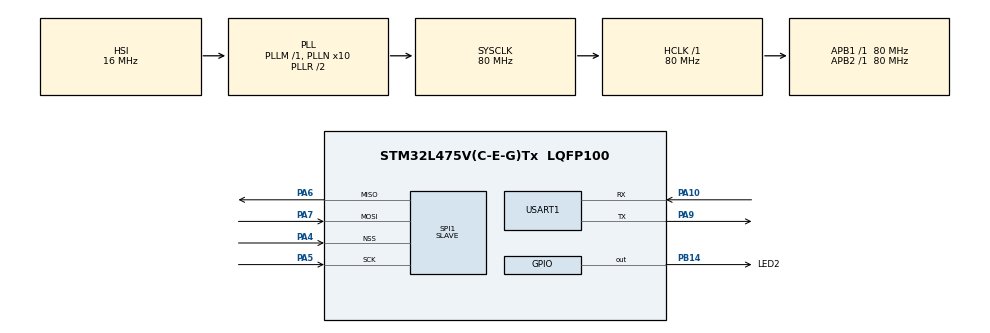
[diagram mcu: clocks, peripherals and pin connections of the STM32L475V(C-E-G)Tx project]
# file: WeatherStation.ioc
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Mcu.Family=STM32L4
RCC.MSI_VALUE=4000000
RCC.PLLSourceVirtual=RCC_PLLSOURCE_HSI
PA14\ (JTCK-SWCLK).Mode=Serial_Wire
PA6.Mode=Full_Duplex_Slave
VP_SYS_VS_tim6.Mode=TIM6
RCC.CortexFreq_Value=80000000
FREERTOS.Tasks01=defaultTask,0,128,StartDefaultTask,Default,NULL,Dynamic,NULL,NULL;readTemp,0,128,StartReadTemp,Default,NULL,Dynamic,NULL,NULL;readHumidity,0,128,StartReadHum,Default,NULL,Dynamic,NULL,NULL;readPressure,0,128,StartReadPressure,Default,NULL,Dynamic,NULL,NULL;readMagneto,0,128,StartReadMagnetometer,Default,NULL,Dynamic,NULL,NULL;SendData,0,128,StartSendData,Default,NULL,Dynamic,NULL,NULL
PA7.Mode=Full_Duplex_Slave
PA10.Mode=Asynchronous
SPI1.VirtualType=VM_SLAVE
NVIC.TIM6_DAC_IRQn=true\:0\:0\:false\:false\:true\:false\:false\:true
PB14.GPIO_Label=LED2
RCC.SYSCLKSource=RCC_SYSCLKSOURCE_PLLCLK
ProjectManager.StackSize=0x400
PA14\ (JTCK-SWCLK).Signal=SYS_JTCK-SWCLK
USART1.VirtualMode-Asynchronous=VM_ASYNC
FREERTOS.configENABLE_FPU=1
PA9.Mode=Asynchronous
PB14.PinState=GPIO_PIN_RESET
PA4.Mode=NSS_Signal_Hard_Input
ProjectManager.TargetToolchain=STM32CubeIDE
PB14.GPIO_Speed=GPIO_SPEED_FREQ_VERY_HIGH
SPI1.Direction=SPI_DIRECTION_2LINES
RCC.HCLKFreq_Value=80000000
RCC.APB2TimFreq_Value=80000000
PA9.Signal=USART1_TX
RCC.USBFreq_Value=64000000
RCC.LSE_VALUE=32768
RCC.AHBFreq_Value=80000000
PB14.Signal=GPIO_Output
PA5.Signal=SPI1_SCK
RCC.HSE_VALUE=8000000
board=custom
RCC.VCOOutputFreq_Value=160000000
RCC.APB2Freq_Value=80000000
SPI1.Mode=SPI_MODE_SLAVE
RCC.ADCFreq_Value=64000000
SPI1.DataSize=SPI_DATASIZE_8BIT
SPI1.VirtualNSS=VM_NSSHARD
VP_FREERTOS_VS_CMSIS_V1.Mode=CMSIS_V1
Mcu.Name=STM32L475V(C-E-G)Tx
FREERTOS.configTOTAL_HEAP_SIZE=5000
PA13\ (JTMS-SWDIO).Mode=Serial_Wire
PA4.Signal=SPI1_NSS
RCC.SYSCLKFreq_VALUE=80000000
Mcu.Package=LQFP100
PA6.Signal=SPI1_MISO
FREERTOS.configUSE_COUNTING_SEMAPHORES=0
NVIC.TimeBase=TIM6_DAC_IRQn
NVIC.TimeBaseIP=TIM6
PA10.Signal=USART1_RX
ProjectManager.HeapSize=0x200
RCC.HSI_VALUE=16000000
NVIC.PriorityGroup=NVIC_PRIORITYGROUP_4
RCC.PLLN=10
RCC.APB1TimFreq_Value=80000000
PA13\ (JTMS-SWDIO).Signal=SYS_JTMS-SWDIO
RCC.APB1Freq_Value=80000000
PA5.Mode=Full_Duplex_Slave
PA7.Signal=SPI1_MOSI

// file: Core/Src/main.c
/* USER CODE BEGIN Header */
/**
  ******************************************************************************
  * @file           : main.c
  * @brief          : Main program body
  ******************************************************************************
  * @attention
  *
  * <h2><center>&copy; Copyright (c) 2021 STMicroelectronics.
  * All rights reserved.</center></h2>
  *
  * This software component is licensed by ST under BSD 3-Clause license,
  * the "License"; You may not use this file except in compliance with the
  * License. You may obtain a copy of the License at:
  *                        opensource.org/licenses/BSD-3-Clause
  *
  ******************************************************************************
  */
/* USER CODE END Header */
#include "main.h"
#include "cmsis_os.h"

/* USER CODE BEGIN Includes */
#include "stm32l475e_iot01.h"
#include "stm32l475e_iot01_tsensor.h"
#include "stm32l475e_iot01_hsensor.h"
#include "stm32l475e_iot01_magneto.h"
#include "stm32l475e_iot01_psensor.h"
#include <math.h>
#include <stdio.h>
#include <inttypes.h>
#include "sensors.h"

/* USER CODE END Includes */

SPI_HandleTypeDef hspi1;

UART_HandleTypeDef huart1;

osThreadId defaultTaskHandle;
osThreadId readTempHandle;
osThreadId readHumidityHandle;
osThreadId readPressureHandle;
osThreadId readMagnetoHandle;
osThreadId SendDataHandle;
/* USER CODE BEGIN PV */

sensors_delay_t delay = FAST;
sensor_data_t sensor_data;
uint8_t written_data;

/* USER CODE END PV */

void SystemClock_Config(void);
static void MX_GPIO_Init(void);
static void MX_USART1_UART_Init(void);
static void MX_SPI1_Init(void);
void StartDefaultTask(void const * argument);
void StartReadTemp(void const * argument);
void StartReadHum(void const * argument);
void StartReadPressure(void const * argument);
void StartReadMagnetometer(void const * argument);
void StartSendData(void const * argument);

/* USER CODE BEGIN PFP */
int _write(int file, char *ptr, int len);
void SendReceiveSPIData();
void _set_delay(const uint16_t new_delay);

/* USER CODE END PFP */

/* USER CODE BEGIN 0 */
int _write(int file, char *ptr, int len){
	HAL_UART_Transmit(&huart1, (uint8_t *)ptr, len, 10);
	return len;
}

void _set_delay(const uint16_t new_delay){
	switch(new_delay){
		case 500:
			delay = FAST;
			break;
		case 1000:
			delay = MEDIUM;
			break;
		case 2500:
			delay = SLOW;
			break;
		case 5000:
			delay = VERY_SLOW;
			break;
		case 10000:
			delay = TAKE_A_BREAK;
			break;
		default:
			// Blink LED to say there was a problem, maybe transmission?
			HAL_GPIO_WritePin(LED2_GPIO_Port, LED2_Pin, GPIO_PIN_SET);
			HAL_Delay(500);
			HAL_GPIO_WritePin(LED2_GPIO_Port, LED2_Pin, GPIO_PIN_RESET);
			break;
	}
}

void SendReceiveSPIData(){
	written_data = 0;
	HAL_StatusTypeDef status;
	// uint16_t new_delay = 0;
	union{
		uint8_t uint8_delay[2];
		uint16_t uint16_delay;
	} new_delay;

	uint8_t new_delay_counter = 0;

	uint8_t *to_send = (uint8_t *)&sensor_data;

	new_delay.uint8_delay[0] = new_delay.uint8_delay[1] = 0;

	// Send SPI Data
	/*
	 * typedef enum
	 * {
		  HAL_OK       = 0x00,
		  HAL_ERROR    = 0x01,
		  HAL_BUSY     = 0x02,
		  HAL_TIMEOUT  = 0x03
		} HAL_StatusTypeDef;
	 */
	/* do{

		status = HAL_SPI_TransmitReceive(&hspi1, (uint8_t *)&sensor_data, tmp_new_delay, sizeof(sensor_data), 1000);

		new_delay = (uint16_t *)tmp_new_delay;

		if(*new_delay != 0)
			_set_delay(*new_delay);

	}while(status != HAL_OK); */

	// status = HAL_SPI_TransmitReceive(&hspi1, (uint8_t *)to_send[i], tmp_new_delay, sizeof(uint8_t), 0); // testing active wait with 0 Timeout, never blocks (maybe)

	// osMutexWait(spi_commHandle, 0);

	for(uint8_t i=0; i<sizeof(sensor_data_t); i++){
		status = HAL_TIMEOUT;
		while(status != HAL_OK){

			status = HAL_SPI_TransmitReceive(&hspi1, to_send + i, &new_delay.uint8_delay[new_delay_counter], sizeof(uint8_t), delay*2); // testing active wait with 0 Timeout, never blocks (maybe)

			if(new_delay_counter >= 2 && new_delay.uint16_delay != 0)
				_set_delay(new_delay.uint16_delay);

		}
		new_delay_counter++;
		new_delay_counter %= 2; // counter can be only 0 or 1
	}

	// osMutexRelease(spi_commHandle);

}

/* void StartWebServer(void const * argument)
{
  for(;;)
  {
	  do{
		  Initialize_WiFi(LED2_GPIO_Port, LED2_Pin);
	  }while(State == WS_ERROR);

	  WebServerProcess();
  }
} */

/* USER CODE END 0 */

int main(void)
{

  /* MCU Configuration--------------------------------------------------------*/

  /* Reset of all peripherals, Initializes the Flash interface and the Systick. */
  HAL_Init();

  /* Configure the system clock */
  SystemClock_Config();

  /* Initialize all configured peripherals */
  MX_GPIO_Init();
  MX_USART1_UART_Init();
  MX_SPI1_Init();

  /* Create the thread(s) */
  /* definition and creation of defaultTask */
  osThreadDef(defaultTask, StartDefaultTask, osPriorityNormal, 0, 128);
  defaultTaskHandle = osThreadCreate(osThread(defaultTask), NULL);

  /* definition and creation of readTemp */
  osThreadDef(readTemp, StartReadTemp, osPriorityNormal, 0, 128);
  readTempHandle = osThreadCreate(osThread(readTemp), NULL);

  /* definition and creation of readHumidity */
  osThreadDef(readHumidity, StartReadHum, osPriorityNormal, 0, 128);
  readHumidityHandle = osThreadCreate(osThread(readHumidity), NULL);

  /* definition and creation of readPressure */
  osThreadDef(readPressure, StartReadPressure, osPriorityNormal, 0, 128);
  readPressureHandle = osThreadCreate(osThread(readPressure), NULL);

  /* definition and creation of readMagneto */
  osThreadDef(readMagneto, StartReadMagnetometer, osPriorityNormal, 0, 128);
  readMagnetoHandle = osThreadCreate(osThread(readMagneto), NULL);

  /* definition and creation of SendData */
  osThreadDef(SendData, StartSendData, osPriorityNormal, 0, 128);
  SendDataHandle = osThreadCreate(osThread(SendData), NULL);

  /* Start scheduler */
  osKernelStart();

  /* We should never get here as control is now taken by the scheduler */
  /* Infinite loop */
  while (1)
  {

  }
}

void SystemClock_Config(void)
{
  RCC_OscInitTypeDef RCC_OscInitStruct = {0};
  RCC_ClkInitTypeDef RCC_ClkInitStruct = {0};
  RCC_PeriphCLKInitTypeDef PeriphClkInit = {0};

  /** Initializes the RCC Oscillators according to the specified parameters
  * in the RCC_OscInitTypeDef structure.
  */
  RCC_OscInitStruct.OscillatorType = RCC_OSCILLATORTYPE_HSI;
  RCC_OscInitStruct.HSIState = RCC_HSI_ON;
  RCC_OscInitStruct.HSICalibrationValue = RCC_HSICALIBRATION_DEFAULT;
  RCC_OscInitStruct.PLL.PLLState = RCC_PLL_ON;
  RCC_OscInitStruct.PLL.PLLSource = RCC_PLLSOURCE_HSI;
  RCC_OscInitStruct.PLL.PLLM = 1;
  RCC_OscInitStruct.PLL.PLLN = 10;
  RCC_OscInitStruct.PLL.PLLP = RCC_PLLP_DIV7;
  RCC_OscInitStruct.PLL.PLLQ = RCC_PLLQ_DIV2;
  RCC_OscInitStruct.PLL.PLLR = RCC_PLLR_DIV2;
  if (HAL_RCC_OscConfig(&RCC_OscInitStruct) != HAL_OK)
  {
    Error_Handler();
  }
  /** Initializes the CPU, AHB and APB buses clocks
  */
  RCC_ClkInitStruct.ClockType = RCC_CLOCKTYPE_HCLK|RCC_CLOCKTYPE_SYSCLK
                              |RCC_CLOCKTYPE_PCLK1|RCC_CLOCKTYPE_PCLK2;
  RCC_ClkInitStruct.SYSCLKSource = RCC_SYSCLKSOURCE_PLLCLK;
  RCC_ClkInitStruct.AHBCLKDivider = RCC_SYSCLK_DIV1;
  RCC_ClkInitStruct.APB1CLKDivider = RCC_HCLK_DIV1;
  RCC_ClkInitStruct.APB2CLKDivider = RCC_HCLK_DIV1;

  if (HAL_RCC_ClockConfig(&RCC_ClkInitStruct, FLASH_LATENCY_4) != HAL_OK)
  {
    Error_Handler();
  }
  PeriphClkInit.PeriphClockSelection = RCC_PERIPHCLK_USART1;
  PeriphClkInit.Usart1ClockSelection = RCC_USART1CLKSOURCE_PCLK2;
  if (HAL_RCCEx_PeriphCLKConfig(&PeriphClkInit) != HAL_OK)
  {
    Error_Handler();
  }
  /** Configure the main internal regulator output voltage
  */
  if (HAL_PWREx_ControlVoltageScaling(PWR_REGULATOR_VOLTAGE_SCALE1) != HAL_OK)
  {
    Error_Handler();
  }
}

static void MX_SPI1_Init(void)
{

  /* SPI1 parameter configuration*/
  hspi1.Instance = SPI1;
  hspi1.Init.Mode = SPI_MODE_SLAVE;
  hspi1.Init.Direction = SPI_DIRECTION_2LINES;
  hspi1.Init.DataSize = SPI_DATASIZE_8BIT;
  hspi1.Init.CLKPolarity = SPI_POLARITY_LOW;
  hspi1.Init.CLKPhase = SPI_PHASE_1EDGE;
  hspi1.Init.NSS = SPI_NSS_HARD_INPUT;
  hspi1.Init.FirstBit = SPI_FIRSTBIT_MSB;
  hspi1.Init.TIMode = SPI_TIMODE_DISABLE;
  hspi1.Init.CRCCalculation = SPI_CRCCALCULATION_DISABLE;
  hspi1.Init.CRCPolynomial = 7;
  hspi1.Init.CRCLength = SPI_CRC_LENGTH_DATASIZE;
  hspi1.Init.NSSPMode = SPI_NSS_PULSE_DISABLE;
  if (HAL_SPI_Init(&hspi1) != HAL_OK)
  {
    Error_Handler();
  }

}

static void MX_USART1_UART_Init(void)
{

  huart1.Instance = USART1;
  huart1.Init.BaudRate = 115200;
  huart1.Init.WordLength = UART_WORDLENGTH_8B;
  huart1.Init.StopBits = UART_STOPBITS_1;
  huart1.Init.Parity = UART_PARITY_NONE;
  huart1.Init.Mode = UART_MODE_TX_RX;
  huart1.Init.HwFlowCtl = UART_HWCONTROL_NONE;
  huart1.Init.OverSampling = UART_OVERSAMPLING_16;
  huart1.Init.OneBitSampling = UART_ONE_BIT_SAMPLE_DISABLE;
  huart1.AdvancedInit.AdvFeatureInit = UART_ADVFEATURE_NO_INIT;
  if (HAL_UART_Init(&huart1) != HAL_OK)
  {
    Error_Handler();
  }

}

static void MX_GPIO_Init(void)
{
  GPIO_InitTypeDef GPIO_InitStruct = {0};

  /* GPIO Ports Clock Enable */
  __HAL_RCC_GPIOA_CLK_ENABLE();
  __HAL_RCC_GPIOB_CLK_ENABLE();

  /*Configure GPIO pin Output Level */
  HAL_GPIO_WritePin(LED2_GPIO_Port, LED2_Pin, GPIO_PIN_RESET);

  /*Configure GPIO pin : LED2_Pin */
  GPIO_InitStruct.Pin = LED2_Pin;
  GPIO_InitStruct.Mode = GPIO_MODE_OUTPUT_PP;
  GPIO_InitStruct.Pull = GPIO_NOPULL;
  GPIO_InitStruct.Speed = GPIO_SPEED_FREQ_VERY_HIGH;
  HAL_GPIO_Init(LED2_GPIO_Port, &GPIO_InitStruct);

}

void StartDefaultTask(void const * argument)
{
  /* USER CODE BEGIN 5 */
  /* Infinite loop */
  for(;;)
  {
	 // HAL_GPIO_TogglePin(LED2_GPIO_Port, LED2_Pin);
	 osDelay(HAL_MAX_DELAY);
  }

  /* USER CODE END 5 */
}

void StartReadTemp(void const * argument)
{
  /* USER CODE BEGIN StartReadTemp */
	float temp_value = 0;
	char *str_tmp = "Temperatura = %d.%02d°C\n\r";
	char output_str[sizeof(str_tmp)];
	int tmpInt1, tmpInt2;
	float tmpFrac;
	uint32_t ret;

		do{
			 ret = BSP_TSENSOR_Init();

			if(ret == TSENSOR_ERROR){
				HAL_GPIO_WritePin(LED2_GPIO_Port, LED2_Pin, GPIO_PIN_SET);
				HAL_Delay(500);
				HAL_GPIO_WritePin(LED2_GPIO_Port, LED2_Pin, GPIO_PIN_RESET);
			}

		}while(ret == TSENSOR_ERROR);

	/* Infinite loop */
	for(;;)
	{
		temp_value = BSP_TSENSOR_ReadTemp();
		tmpInt1 = temp_value;
		tmpFrac = temp_value - tmpInt1;
		tmpInt2 = trunc(tmpFrac * 100);
		snprintf(output_str, sizeof(output_str), str_tmp, tmpInt1, tmpInt2);
		HAL_UART_Transmit(&huart1, (uint8_t *)output_str, sizeof(str_tmp), 1000);

		sensor_data.temperature = temp_value;
		written_data++;

		if(written_data >= 4)
			xTaskNotifyGive(SendDataHandle);

		osDelay(HAL_MAX_DELAY);
	}
  /* USER CODE END StartReadTemp */
}

void StartReadHum(void const * argument)
{
  /* USER CODE BEGIN StartReadHum */
  /* Infinite loop */
	float hum_value = 0;
	char *str_hum = "Umidita' = %d.%02d\n\r";
	char output_str[sizeof(str_hum)];
	int humInt1, humInt2;
	float humFrac;
	uint32_t ret;

		do{
			 ret = BSP_HSENSOR_Init();

			if(ret == HSENSOR_ERROR){
				HAL_GPIO_WritePin(LED2_GPIO_Port, LED2_Pin, GPIO_PIN_SET);
				HAL_Delay(500);
				HAL_GPIO_WritePin(LED2_GPIO_Port, LED2_Pin, GPIO_PIN_RESET);
			}

		}while(ret == HSENSOR_ERROR);

	/* Infinite loop */
	for(;;)
	{
		hum_value = BSP_HSENSOR_ReadHumidity();
		humInt1 = hum_value;
		humFrac = hum_value - humInt1;
		humInt2 = trunc(humFrac * 100);
		snprintf(output_str, sizeof(output_str), str_hum, humInt1, humInt2);
		HAL_UART_Transmit(&huart1, (uint8_t *)output_str, sizeof(str_hum), 1000);

		sensor_data.humidity = hum_value;
		written_data++;

		if(written_data >= 4)
			xTaskNotifyGive(SendDataHandle);

		osDelay(HAL_MAX_DELAY);
	}
  /* USER CODE END StartReadHum */
}

void StartReadPressure(void const * argument)
{
  /* USER CODE BEGIN StartReadPressure */
	float pres_value = 0;
	char *str_pres = "Pressione = %d.%02d hPa\n\r";
	char output_str[sizeof(str_pres)];
	int presInt1, presInt2;
	float presFrac;
	uint32_t ret;

	do{
		 ret = BSP_PSENSOR_Init();

		if(ret == PSENSOR_ERROR){
			HAL_GPIO_WritePin(LED2_GPIO_Port, LED2_Pin, GPIO_PIN_SET);
			HAL_Delay(500);
			HAL_GPIO_WritePin(LED2_GPIO_Port, LED2_Pin, GPIO_PIN_RESET);
		}

	}while(ret == PSENSOR_ERROR);

	/* Infinite loop */
	for(;;)
	{
		pres_value = BSP_PSENSOR_ReadPressure();
		presInt1 = pres_value;
		presFrac = pres_value - presInt1;
		presInt2 = trunc(presFrac * 100);
		snprintf(output_str, sizeof(output_str), str_pres, presInt1, presInt2);
		HAL_UART_Transmit(&huart1, (uint8_t *)output_str, sizeof(str_pres), 1000);

		sensor_data.pressure = pres_value;
		written_data++;

		if(written_data >= 4)
			xTaskNotifyGive(SendDataHandle);

		osDelay(delay);
	}
  /* USER CODE END StartReadPressure */
}

void StartReadMagnetometer(void const * argument)
{
  /* USER CODE BEGIN StartReadMagnetometer */
	int16_t xyz[3];
	int16_t x, y;
	char *str_tmp = "Direzione del nord = %d.%02d°\n\r";
	char output_str[sizeof(str_tmp)];
	double direction, magnFrac;
	int magnInt1, magnInt2;
	double declination_angle = 3.45;
	MAGNETO_StatusTypeDef ret;

	do{
		 ret = BSP_MAGNETO_Init();

		if(ret != MAGNETO_OK){
			HAL_GPIO_WritePin(LED2_GPIO_Port, LED2_Pin, GPIO_PIN_SET);
			HAL_Delay(500);
			HAL_GPIO_WritePin(LED2_GPIO_Port, LED2_Pin, GPIO_PIN_RESET);
		}

	}while(ret != MAGNETO_OK);

	/* Infinite loop */
	for(;;)
	{
		BSP_MAGNETO_GetXYZ(xyz);
		x = xyz[0];
		y = xyz[1];

		if(y > 0)
			direction = 90 - (atan(x/y) * 180/M_PI);
		else if(y < 0)
			direction = 270 - (atan(x/y) * 180/M_PI);
		else if(y == 0 && x < 0)
			direction = 180.0;
		else if(y == 0 && x > 0)
			direction = 0.0;
		else
			direction = -1.0;

		if(direction != -1.0){
			direction += declination_angle;
			magnInt1 = direction;
			magnFrac = direction - magnInt1;
			magnInt2 = trunc(magnFrac * 100);
			snprintf(output_str, sizeof(output_str), str_tmp, magnInt1, magnInt2);
			HAL_UART_Transmit(&huart1, (uint8_t *)output_str, sizeof(str_tmp), 1000);

			sensor_data.north_direction = direction;
			written_data++;

			if(written_data >= 4)
				xTaskNotifyGive(SendDataHandle);
		}

		osDelay(delay);
	}
  /* USER CODE END StartReadMagnetometer */
}

void StartSendData(void const * argument)
{
  /* USER CODE BEGIN StartSendData */
	const TickType_t xBlockTime = pdMS_TO_TICKS( HAL_MAX_DELAY );
  /* Infinite loop */
  for(;;)
  {
	  ulTaskNotifyTake(pdTRUE, xBlockTime);
	  if(written_data >= 4)
		  SendReceiveSPIData();
  }
  /* USER CODE END StartSendData */
}

 /**
  * @brief  Period elapsed callback in non blocking mode
  * @note   This function is called  when TIM6 interrupt took place, inside
  * HAL_TIM_IRQHandler(). It makes a direct call to HAL_IncTick() to increment
  * a global variable "uwTick" used as application time base.
  * @param  htim : TIM handle
  * @retval None
  */
void HAL_TIM_PeriodElapsedCallback(TIM_HandleTypeDef *htim)
{
  if (htim->Instance == TIM6) {
    HAL_IncTick();
  }
}

void Error_Handler(void)
{
  __disable_irq();
  while (1)
  {
  }
}

/************************ (C) COPYRIGHT STMicroelectronics *****END OF FILE****/
